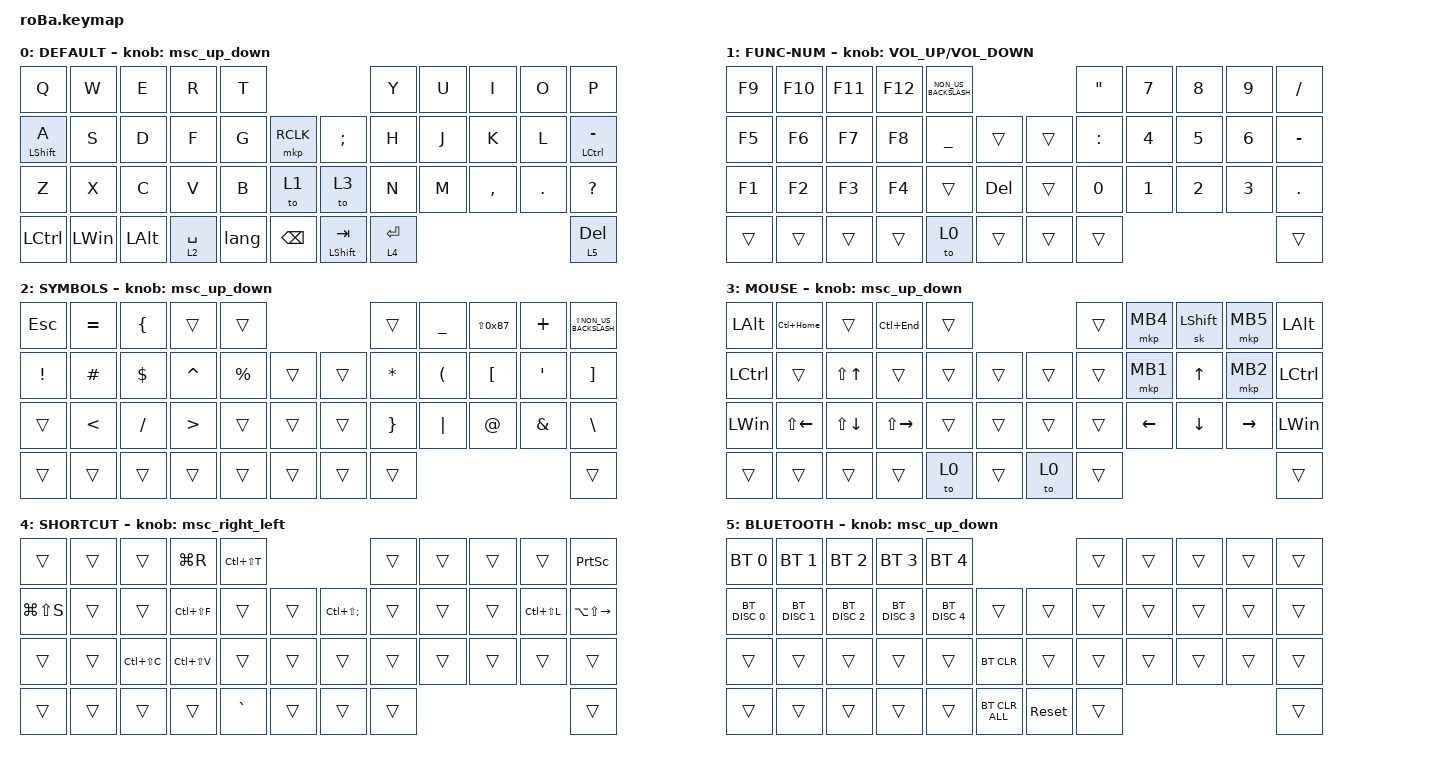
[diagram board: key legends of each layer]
// #include <input/processors.dtsi>

#include <behaviors.dtsi>
#include <dt-bindings/zmk/bt.h>
#include <dt-bindings/zmk/keys.h>
#include <dt-bindings/zmk/pointing.h>

#define MOUSE 3
#define ZMK_POINTING_DEFAULT_SCRL_VAL 100
#define JP_YEN 0x89
#define JP_PIPE LS(0x89)
#define JP_UNDERSCORE LS(0x87)

&mt {
    flavor = "balanced";
    quick-tap-ms = <0>;
};

&trackball { scroll-layers = <4>; };

/ {
    // combos { compatible = "zmk,combos"; };

    macros {
        exit_AML: exit_AML {
            compatible = "zmk,behavior-macro";
            wait-ms = <0>;
            tap-ms = <0>;
            #binding-cells = <0>;
            bindings = <&tog_off 0>;
            label = "exit_AML";
        };

        kp_exit_AML: kp_exit_AML {
            compatible = "zmk,behavior-macro-one-param";
            wait-ms = <0>;
            tap-ms = <0>;
            #binding-cells = <1>;
            bindings = <&macro_param_1to1 &to MACRO_PLACEHOLDER &exit_AML>;
            label = "KP_exit_AML";
        };
    };

    behaviors {
        tog_off: toggle_layer_off {
            compatible = "zmk,behavior-toggle-layer";
            #binding-cells = <1>;
            display-name = "Toggle Layer Off";
            toggle-mode = "off";
        };

        mt_exit_AML_on_tap: mt_exit_AML_on_tap {
            compatible = "zmk,behavior-hold-tap";
            label = "MT_exit_AML_ON_TAP";
            bindings = <&kp>, <&kp_exit_AML>;

            #binding-cells = <2>;
            tapping-term-ms = <200>;
            flavor = "balanced";
            quick-tap-ms = <200>;
        };

        msc_up_down: msc_up_down {
            compatible = "zmk,behavior-sensor-rotate";
            label = "MSC_UP_DOWN";
            #sensor-binding-cells = <0>;
            tap-ms = <20>;
            bindings = <&msc SCRL_DOWN>, <&msc SCRL_UP>;
        };

        lang: lang {
            compatible = "zmk,behavior-tap-dance";
            label = "LANG";
            #binding-cells = <0>;
            bindings = <&kp LANGUAGE_1>, <&kp LANGUAGE_2>;
        };

        msc_right_left: msc_right_left {
            compatible = "zmk,behavior-sensor-rotate";
            label = "MSC_RIGHT_LEFT";
            #sensor-binding-cells = <0>;
            tap-ms = <20>;
            bindings = <&msc SCRL_LEFT>, <&msc SCRL_RIGHT>;
        };
    };

    combos {
        compatible = "zmk,combos";

        FONT_SMALL {
            bindings = <&kp LC(LS(LESS_THAN))>;
            key-positions = <23 24>;
        };

        FONT_LARGE {
            bindings = <&kp LS(LC(GREATER_THAN))>;
            key-positions = <24 25>;
        };
    };

    keymap {
        compatible = "zmk,keymap";

        DEFAULT {
            bindings = <
&kp Q             &kp W         &kp E         &kp R        &kp T                                         &kp Y        &kp U  &kp I      &kp O    &kp P
&mt LEFT_SHIFT A  &kp S         &kp D         &kp F        &kp G  &mkp RCLK          &kp SEMICOLON       &kp H        &kp J  &kp K      &kp L    &mt LCTRL MINUS
&kp Z             &kp X         &kp C         &kp V        &kp B  &to 1              &to 3               &kp N        &kp M  &kp COMMA  &kp DOT  &kp QUESTION
&kp LCTRL         &kp LEFT_WIN  &kp LEFT_ALT  &lt 2 SPACE  &lang  &kp BACKSPACE      &mt LEFT_SHIFT TAB  &lt 4 ENTER                             &lt 5 DELETE
            >;

            sensor-bindings = <&msc_up_down>;
        };

        FUNC-NUM {
            bindings = <
&kp F9  &kp F10  &kp F11  &kp F12  &kp NON_US_BACKSLASH                          &kp DOUBLE_QUOTES  &kp N7  &kp N8  &kp N9  &kp SLASH
&kp F5  &kp F6   &kp F7   &kp F8   &kp UNDERSCORE        &trans          &trans  &kp COLON          &kp N4  &kp N5  &kp N6  &kp MINUS
&kp F1  &kp F2   &kp F3   &kp F4   &trans                &kp DELETE      &trans  &kp N0             &kp N1  &kp N2  &kp N3  &kp PERIOD
&trans  &trans   &trans   &trans   &to 0                 &trans          &trans  &trans                                     &trans
            >;

            sensor-bindings = <&inc_dec_kp C_VOLUME_UP C_VOLUME_DOWN>;
        };

        SYMBOLS {
            bindings = <
&kp ESCAPE       &kp EQUAL      &kp LEFT_BRACE  &trans            &trans                           &trans           &kp UNDERSCORE        &kp JP_UNDERSCORE  &kp PLUS          &kp LS(NON_US_BACKSLASH)
&kp EXCLAMATION  &kp HASH       &kp DOLLAR      &kp CARET         &kp PERCENT  &trans      &trans  &kp ASTERISK     &kp LEFT_PARENTHESIS  &kp LEFT_BRACKET   &kp SINGLE_QUOTE  &kp RIGHT_BRACKET
&trans           &kp LESS_THAN  &kp SLASH       &kp GREATER_THAN  &trans       &trans      &trans  &kp RIGHT_BRACE  &kp PIPE              &kp AT_SIGN        &kp AMPERSAND     &kp BACKSLASH
&trans           &trans         &trans          &trans            &trans       &trans      &trans  &trans                                                                      &trans
            >;

            sensor-bindings = <&msc_up_down>;
        };

        MOUSE {
            bindings = <
&kp LEFT_ALT  &kp LC(HOME)        &trans              &kp LC(END)          &trans                      &trans  &mkp MB4        &sk LEFT_SHIFT  &mkp MB5         &kp LEFT_ALT
&kp LCTRL     &trans              &kp LS(UP_ARROW)    &trans               &trans  &trans      &trans  &trans  &mkp MB1        &kp UP_ARROW    &mkp MB2         &kp LCTRL
&kp LEFT_WIN  &kp LS(LEFT_ARROW)  &kp LS(DOWN_ARROW)  &kp LS(RIGHT_ARROW)  &trans  &trans      &trans  &trans  &kp LEFT_ARROW  &kp DOWN_ARROW  &kp RIGHT_ARROW  &kp LEFT_WIN
&trans        &trans              &trans              &trans               &to 0   &trans      &to 0   &trans                                                   &trans
            >;

            sensor-bindings = <&msc_up_down>;
        };

        SHORTCUT {
            bindings = <
&trans         &trans  &trans         &kp LG(R)      &kp LC(LS(T))                                     &trans  &trans  &trans  &trans         &kp PRINTSCREEN
&kp LG(LS(S))  &trans  &trans         &kp LC(LS(F))  &trans         &trans      &kp LC(LS(SEMICOLON))  &trans  &trans  &trans  &kp LC(LS(L))  &kp LA(LS(RIGHT_ARROW))
&trans         &trans  &kp LC(LS(C))  &kp LC(LS(V))  &trans         &trans      &trans                 &trans  &trans  &trans  &trans         &trans
&trans         &trans  &trans         &trans         &kp GRAVE      &trans      &trans                 &trans                                 &trans
            >;

            sensor-bindings = <&msc_right_left>;
        };

        BLUETOOTH {
            bindings = <
&bt BT_SEL 0   &bt BT_SEL 1   &bt BT_SEL 2   &bt BT_SEL 3   &bt BT_SEL 4                                   &trans  &trans  &trans  &trans  &trans
&bt BT_DISC 0  &bt BT_DISC 1  &bt BT_DISC 2  &bt BT_DISC 3  &bt BT_DISC 4  &trans              &trans      &trans  &trans  &trans  &trans  &trans
&trans         &trans         &trans         &trans         &trans         &bt BT_CLR          &trans      &trans  &trans  &trans  &trans  &trans
&trans         &trans         &trans         &trans         &trans         &bt BT_CLR_ALL      &sys_reset  &trans                          &trans
            >;

            sensor-bindings = <&msc_up_down>;
        };
    };
};
